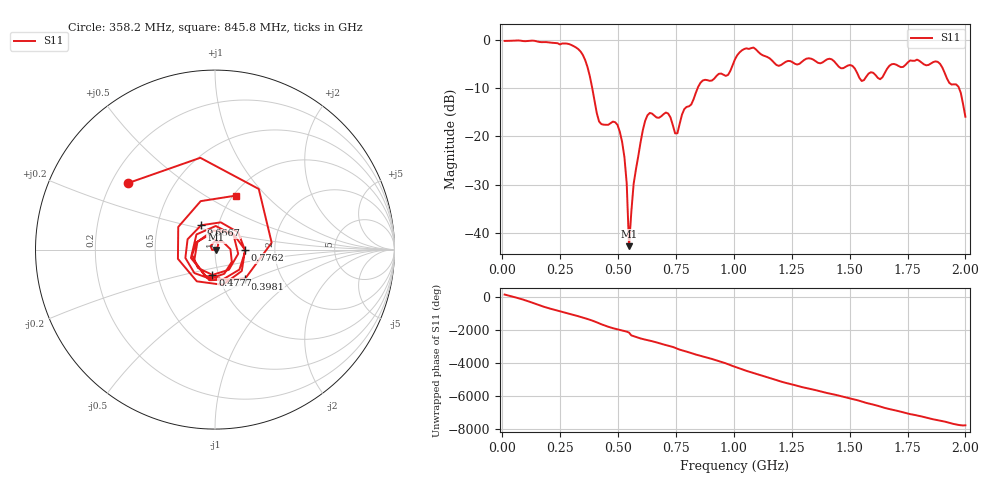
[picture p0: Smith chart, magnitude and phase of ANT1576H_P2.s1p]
!Created with skrf (http://scikit-rf.org).
# Hz S RI R 50.0
!freq ReS11 ImS11
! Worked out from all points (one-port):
!   201 points, 10 MHz to 2 GHz, reference 50 ohm
!   lowest |S11| = -42.8 dB at 547.3 MHz (marker M1), VSWR 1.01, Z = 50.7 - j0.0148 ohm
!   |S11| at or under -10 dB: 388.3 MHz to 844.1 MHz (455.8 MHz wide, 74 % of centre); 1.972 GHz to end of sweep
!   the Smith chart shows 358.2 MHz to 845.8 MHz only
!   S11 on the Smith chart (normalised r, x): 358.2 MHz: 0.27, +0.32; 398.1 MHz: 1.32, -0.45; 477.6 MHz: 0.93, -0.27; 666.7 MHz: 0.83, +0.23; 776.1 MHz: 1.40, -0.00; 845.8 MHz: 1.03, +0.69
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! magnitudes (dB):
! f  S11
! 10 MHz  -0.3
! 258.8 MHz  -0.8
! 358.2 MHz  -4.3
! 398.1 MHz  -12.6
! 417.9 MHz  -17.0
! 477.6 MHz  -17.0
! 507.5 MHz  -19.1
! 527.4 MHz  -24.3
! 537.4 MHz  -29.8
! 547.3 MHz  -42.8
! 567.2 MHz  -29.9
! 607 MHz  -18.7
! 636.9 MHz  -15.2
! 666.7 MHz  -16.1
! 716.5 MHz  -15.3
! 756.2 MHz  -19.4
! 776.1 MHz  -15.5
! 845.8 MHz  -9.8
! 975.1 MHz  -7.3
! 1.005 GHz  -4.1
! 1.085 GHz  -1.6
! 1.254 GHz  -4.7
! 1.502 GHz  -5.3
! 1.552 GHz  -8.6
! 1.751 GHz  -4.7
! 1.891 GHz  -5.0
! 1.97 GHz  -9.8
! 2 GHz  -16.0
